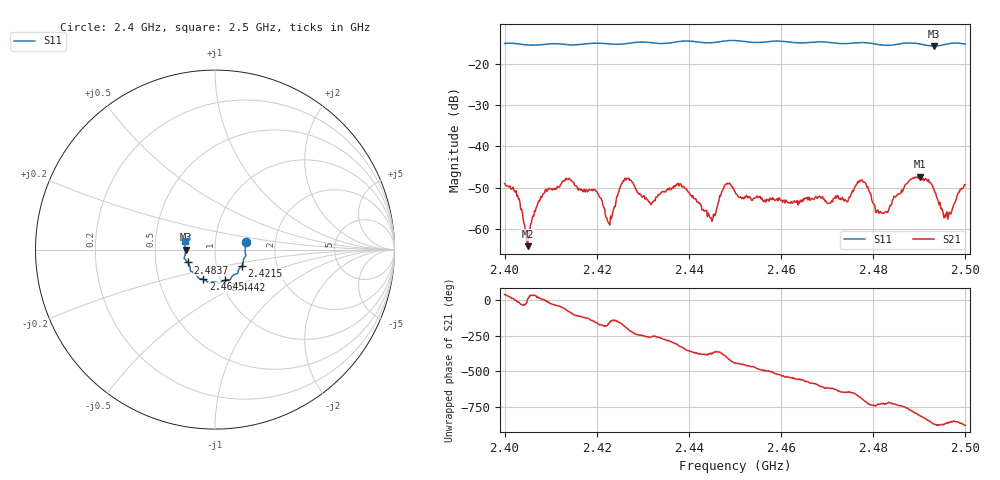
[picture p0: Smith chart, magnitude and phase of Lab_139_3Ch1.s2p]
# Hz S RI R 50
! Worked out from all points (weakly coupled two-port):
!   601 points, 2.4 GHz to 2.5 GHz, reference 50 ohm
!   highest |S21| = -47.29 dB at 2.4902 GHz (marker M1); lowest = -64.1 dB at 2.405 GHz (marker M2)
!   lowest |S11| = -15.7 dB at 2.4932 GHz (marker M3), VSWR 1.39, Z = 35.9 - j0.0516 ohm
!   |S11| at or under -10 dB: start of sweep to end of sweep
!   S12 and S22 are empty: the file has one direction only
!   S11 on the Smith chart (normalised r, x): 2.4 GHz: 1.41, +0.12; 2.4215 GHz: 1.33, -0.25; 2.4442 GHz: 1.05, -0.37; 2.4645 GHz: 0.83, -0.29; 2.4837 GHz: 0.73, -0.11; 2.5 GHz: 0.71, +0.07
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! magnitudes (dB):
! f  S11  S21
! 2.4 GHz  -15.1  -49.0
! 2.4028 GHz  -15.2  -51.8
! 2.405 GHz  -15.5  -64.1
! 2.4092 GHz  -15.3  -50.9
! 2.4167 GHz  -15.3  -50.3
! 2.4215 GHz  -15.1  -54.8
! 2.4228 GHz  -15.2  -59.0
! 2.4265 GHz  -15.1  -47.8
! 2.4333 GHz  -15.1  -51.6
! 2.438 GHz  -14.6  -49.1
! 2.4442 GHz  -15.0  -56.1
! 2.4482 GHz  -14.5  -49.2
! 2.45 GHz  -14.4  -50.9
! 2.4645 GHz  -15.0  -53.3
! 2.4667 GHz  -14.8  -52.6
! 2.4775 GHz  -14.9  -48.0
! 2.4833 GHz  -15.6  -55.4
! 2.4837 GHz  -15.5  -54.2
! 2.4902 GHz  -15.2  -47.3
! 2.4932 GHz  -15.7  -50.4
! 2.4958 GHz  -15.3  -56.2
! 2.5 GHz  -15.3  -49.2
